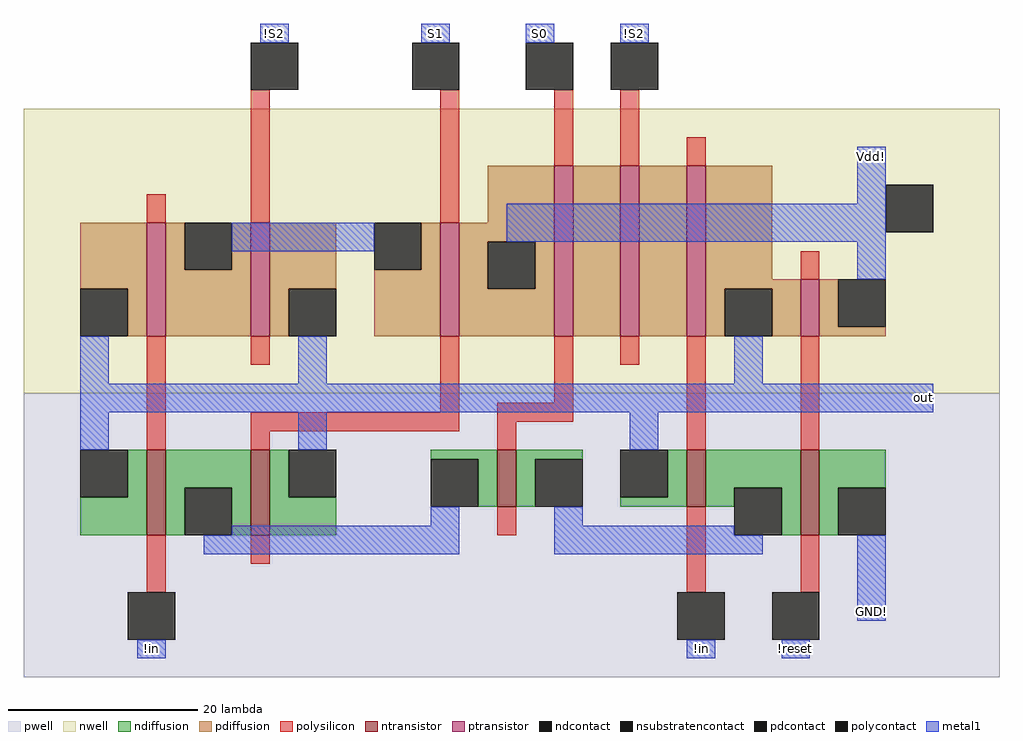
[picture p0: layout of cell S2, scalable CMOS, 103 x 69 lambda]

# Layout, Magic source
magic
tech scmos
<< nwell >>
rect -50 -5 53 25
<< pwell >>
rect -50 -35 53 -5
<< ntransistor >>
rect -37 -20 -35 -11
rect -26 -20 -24 -11
rect 0 -17 2 -11
rect 20 -17 22 -11
rect 32 -20 34 -11
<< ptransistor >>
rect -37 1 -35 13
rect -26 1 -24 13
rect -6 1 -4 13
rect 6 1 8 19
rect 13 1 15 19
rect 20 1 22 19
rect 32 1 34 7
<< ndiffusion >>
rect -39 -16 -37 -11
rect -44 -20 -37 -16
rect -35 -15 -26 -11
rect -35 -20 -33 -15
rect -28 -20 -26 -15
rect -24 -16 -22 -11
rect -24 -20 -17 -16
rect -7 -12 0 -11
rect -2 -17 0 -12
rect 2 -12 9 -11
rect 2 -17 4 -12
rect 18 -16 20 -11
rect 13 -17 20 -16
rect 22 -15 32 -11
rect 22 -17 25 -15
rect 30 -20 32 -15
rect 34 -15 41 -11
rect 34 -20 36 -15
<< pdiffusion >>
rect -1 13 6 19
rect -44 6 -37 13
rect -39 1 -37 6
rect -35 8 -33 13
rect -28 8 -26 13
rect -35 1 -26 8
rect -24 6 -17 13
rect -24 1 -22 6
rect -8 8 -6 13
rect -13 1 -6 8
rect -4 11 6 13
rect -4 6 -1 11
rect 4 6 6 11
rect -4 1 6 6
rect 8 1 13 19
rect 15 1 20 19
rect 22 7 29 19
rect 22 6 32 7
rect 22 1 24 6
rect 29 1 32 6
rect 34 2 36 7
rect 34 1 41 2
<< ndcontact >>
rect -44 -16 -39 -11
rect -33 -20 -28 -15
rect -22 -16 -17 -11
rect -7 -17 -2 -12
rect 4 -17 9 -12
rect 13 -16 18 -11
rect 25 -20 30 -15
rect 36 -20 41 -15
<< pdcontact >>
rect -44 1 -39 6
rect -33 8 -28 13
rect -22 1 -17 6
rect -13 8 -8 13
rect -1 6 4 11
rect 24 1 29 6
rect 36 2 41 7
<< nsubstratencontact >>
rect 41 12 46 17
<< polysilicon >>
rect -37 13 -35 16
rect -26 13 -24 27
rect -6 13 -4 27
rect 6 19 8 27
rect 13 19 15 27
rect 20 19 22 22
rect 32 7 34 10
rect -37 -11 -35 1
rect -26 -2 -24 1
rect -6 -7 -4 1
rect 6 -6 8 1
rect 13 -2 15 1
rect -26 -9 -4 -7
rect 0 -8 8 -6
rect -26 -11 -24 -9
rect 0 -11 2 -8
rect 20 -11 22 1
rect 32 -11 34 1
rect 0 -20 2 -17
rect -37 -26 -35 -20
rect -26 -23 -24 -20
rect 20 -26 22 -17
rect 32 -26 34 -20
<< polycontact >>
rect -26 27 -21 32
rect -9 27 -4 32
rect 3 27 8 32
rect 12 27 17 32
rect -39 -31 -34 -26
rect 19 -31 24 -26
rect 29 -31 34 -26
<< metal1 >>
rect -25 32 -22 34
rect -8 32 -5 34
rect 3 32 6 34
rect 13 32 16 34
rect 38 15 41 21
rect -28 10 -13 13
rect 1 11 41 15
rect 38 7 41 11
rect -44 -4 -41 1
rect -21 -4 -18 1
rect 25 -4 28 1
rect -44 -7 46 -4
rect -44 -11 -41 -7
rect -21 -11 -18 -7
rect 14 -11 17 -7
rect -7 -19 -4 -17
rect -28 -20 -4 -19
rect -31 -22 -4 -20
rect 6 -19 9 -17
rect 6 -20 25 -19
rect 6 -22 28 -20
rect 38 -29 41 -20
rect -38 -33 -35 -31
rect 20 -33 23 -31
rect 30 -33 33 -31
<< labels >>
rlabel metal1 38 -29 41 -27 5 GND!
rlabel metal1 38 19 41 21 1 Vdd!
flabel metal1 44 -7 46 -4 0 FreeSans 8 0 0 0 out
rlabel metal1 3 32 6 34 1 S0
rlabel metal1 30 -33 33 -31 5 !reset
rlabel metal1 -38 -33 -35 -31 5 !in
rlabel metal1 20 -33 23 -31 5 !in
rlabel metal1 13 32 16 34 1 !S2
rlabel metal1 -25 32 -22 34 1 !S2
rlabel metal1 -8 32 -5 34 1 S1
<< end >>
